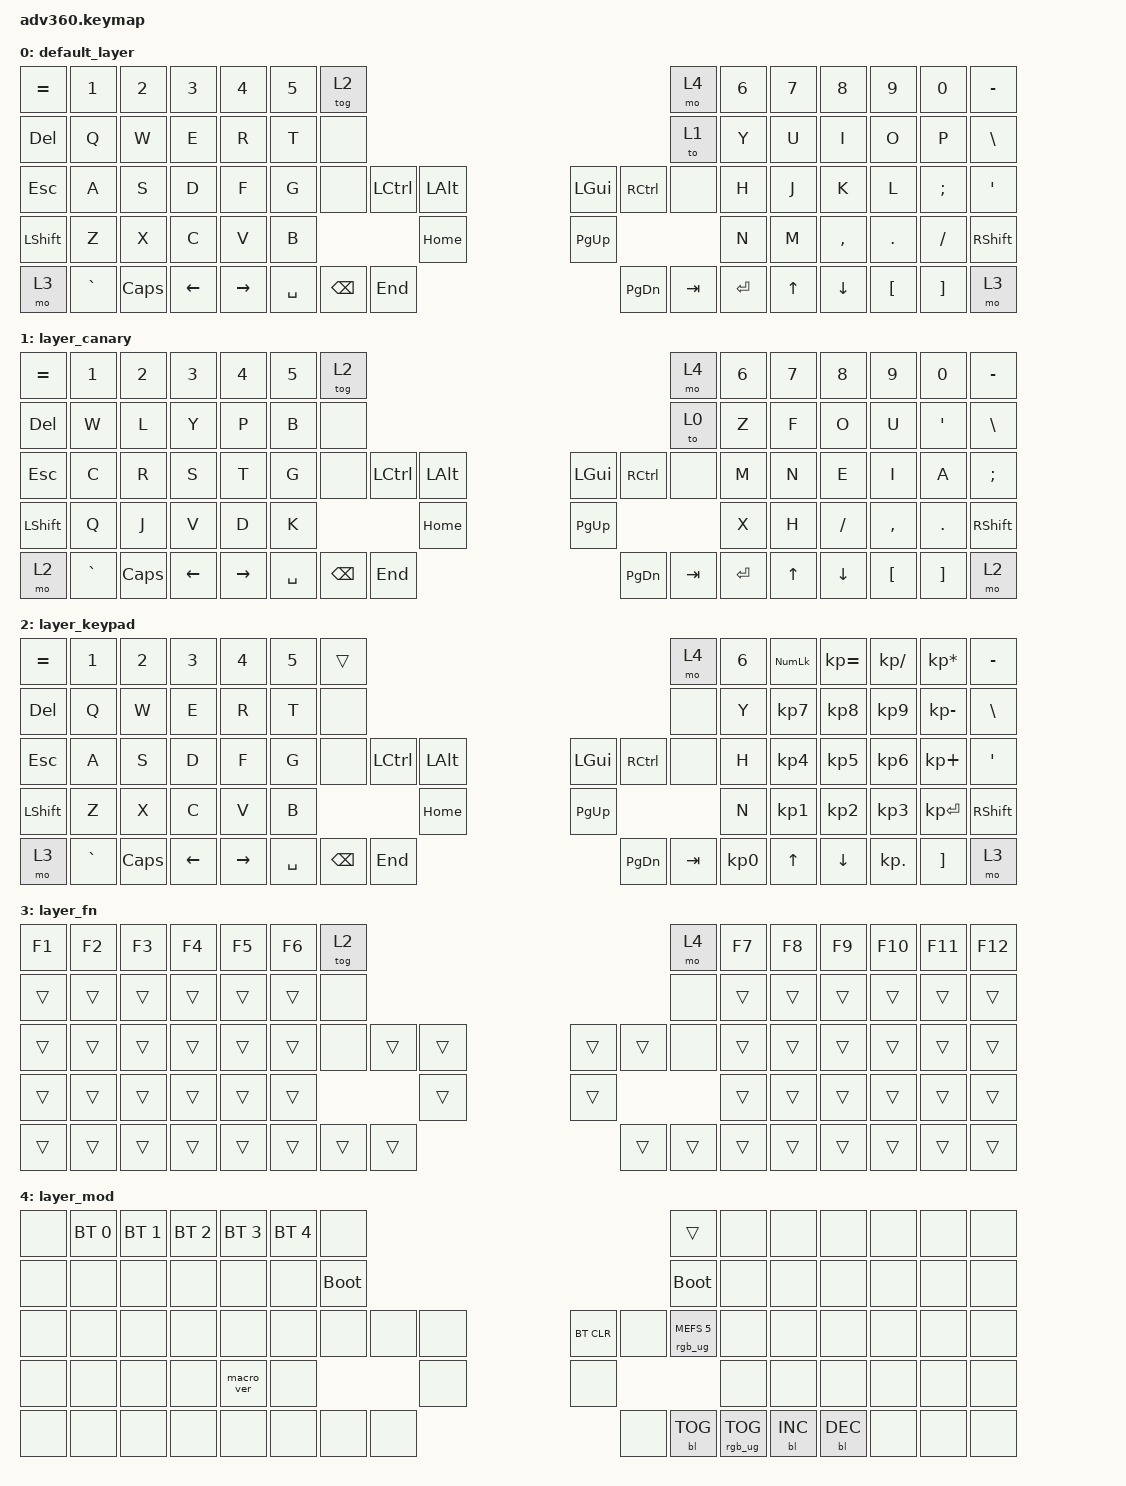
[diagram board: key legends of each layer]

/*
 * Copyright (c) 2020 The ZMK Contributors
 *
 * SPDX-License-Identifier: MIT
 */


/* THIS FILE WAS GENERATED!
 *
 * This file was generated automatically. You may or may not want to
 * edit it directly.
 */

#include <behaviors.dtsi>
#include <dt-bindings/zmk/keys.h>
#include <dt-bindings/zmk/bt.h>
#include <dt-bindings/zmk/rgb.h>
#include <dt-bindings/zmk/backlight.h>

/ {
  behaviors {
    #include "macros.dtsi"
    #include "version.dtsi"

    hm: homerow_mods {
        compatible = "zmk,behavior-hold-tap";
        label = "HOMEROW_MODS";
        #binding-cells = <2>;
        tapping-term-ms = <200>;
        quick_tap_ms = <175>;
        flavor = "tap-preferred";
        bindings = <&kp>, <&kp>;
    };
  };

    keymap {
        compatible = "zmk,keymap";


        default_layer {
            bindings = <
 &kp EQUAL     &kp N1    &kp N2    &kp N3     &kp N4  &kp N5               &tog 2                                                                     &mo 4  &kp N6  &kp N7     &kp N8    &kp N9    &kp N0  &kp MINUS
   &kp DEL      &kp Q     &kp W     &kp E      &kp R   &kp T                &none                                                                     &to 1   &kp Y   &kp U      &kp I     &kp O     &kp P   &kp BSLH
   &kp ESC      &kp A     &kp S     &kp D      &kp F   &kp G                &none      &kp LCTRL  &kp LALT                   &kp LGUI  &kp RCTRL      &none   &kp H   &kp J      &kp K     &kp L  &kp SEMI    &kp SQT
 &kp LSHFT      &kp Z     &kp X     &kp C      &kp V   &kp B                                      &kp HOME                  &kp PG_UP                         &kp N   &kp M  &kp COMMA   &kp DOT  &kp FSLH  &kp RSHFT
     &mo 3  &kp GRAVE  &kp CAPS  &kp LEFT  &kp RIGHT                    &kp SPACE  &kp BACKSPACE   &kp END                  &kp PG_DN    &kp TAB  &kp ENTER          &kp UP   &kp DOWN  &kp LBKT  &kp RBKT      &mo 3
            >;
        };

        layer_canary {
            bindings = <
 &kp EQUAL     &kp N1    &kp N2    &kp N3     &kp N4  &kp N5               &tog 2                                                                     &mo 4  &kp N6  &kp N7    &kp N8     &kp N9    &kp N0  &kp MINUS
   &kp DEL      &kp W     &kp L     &kp Y      &kp P   &kp B                &none                                                                     &to 0   &kp Z   &kp F     &kp O      &kp U   &kp SQT   &kp BSLH
   &kp ESC      &kp C     &kp R     &kp S      &kp T   &kp G                &none      &kp LCTRL  &kp LALT                   &kp LGUI  &kp RCTRL      &none   &kp M   &kp N     &kp E      &kp I     &kp A   &kp SEMI
 &kp LSHFT      &kp Q     &kp J     &kp V      &kp D   &kp K                                      &kp HOME                  &kp PG_UP                         &kp X   &kp H  &kp FSLH  &kp COMMA   &kp DOT  &kp RSHFT
     &mo 2  &kp GRAVE  &kp CAPS  &kp LEFT  &kp RIGHT                    &kp SPACE  &kp BACKSPACE   &kp END                  &kp PG_DN    &kp TAB  &kp ENTER          &kp UP  &kp DOWN   &kp LBKT  &kp RBKT      &mo 2
            >;
        };

        layer_keypad {
            bindings = <
 &kp EQUAL     &kp N1    &kp N2    &kp N3     &kp N4  &kp N5               &trans                                                                     &mo 4  &kp N6  &kp KP_NUM  &kp KP_EQUAL  &kp KP_DIVIDE  &kp KP_MULTIPLY  &kp MINUS
   &kp DEL      &kp Q     &kp W     &kp E      &kp R   &kp T                &none                                                                     &none   &kp Y   &kp KP_N7     &kp KP_N8      &kp KP_N9     &kp KP_MINUS   &kp BSLH
   &kp ESC      &kp A     &kp S     &kp D      &kp F   &kp G                &none      &kp LCTRL  &kp LALT                   &kp LGUI  &kp RCTRL      &none   &kp H   &kp KP_N4     &kp KP_N5      &kp KP_N6      &kp KP_PLUS    &kp SQT
 &kp LSHFT      &kp Z     &kp X     &kp C      &kp V   &kp B                                      &kp HOME                  &kp PG_UP                         &kp N   &kp KP_N1     &kp KP_N2      &kp KP_N3     &kp KP_ENTER  &kp RSHFT
     &mo 3  &kp GRAVE  &kp CAPS  &kp LEFT  &kp RIGHT                    &kp SPACE  &kp BACKSPACE   &kp END                  &kp PG_DN    &kp TAB  &kp KP_N0              &kp UP      &kp DOWN     &kp KP_DOT         &kp RBKT      &mo 3
            >;
        };

        layer_fn {
            bindings = <
 &kp F1  &kp F2  &kp F3  &kp F4  &kp F5  &kp F6            &tog 2                                                   &mo 4  &kp F7  &kp F8  &kp F9  &kp F10  &kp F11  &kp F12
 &trans  &trans  &trans  &trans  &trans  &trans             &none                                                   &none  &trans  &trans  &trans   &trans   &trans   &trans
 &trans  &trans  &trans  &trans  &trans  &trans             &none  &trans  &trans                  &trans  &trans   &none  &trans  &trans  &trans   &trans   &trans   &trans
 &trans  &trans  &trans  &trans  &trans  &trans                            &trans                  &trans                  &trans  &trans  &trans   &trans   &trans   &trans
 &trans  &trans  &trans  &trans  &trans                    &trans  &trans  &trans                  &trans  &trans  &trans          &trans  &trans   &trans   &trans   &trans
            >;
        };

        layer_mod {
            bindings = <
  &none  &bt BT_SEL 0  &bt BT_SEL 1  &bt BT_SEL 2  &bt BT_SEL 3  &bt BT_SEL 4                  &none                                                                          &trans   &none       &none       &none   &none   &none   &none
  &none         &none         &none         &none         &none         &none            &bootloader                                                                     &bootloader   &none       &none       &none   &none   &none   &none
  &none         &none         &none         &none         &none         &none                  &none   &none   &none                  &bt BT_CLR       &none  &rgb_ug RGB_MEFS_CMD 5   &none       &none       &none   &none   &none   &none
  &none         &none         &none         &none    &macro_ver         &none                                  &none                       &none                                       &none       &none       &none   &none   &none   &none
  &none         &none         &none         &none         &none                                &none   &none   &none                       &none  &bl BL_TOG         &rgb_ug RGB_TOG          &bl BL_INC  &bl BL_DEC   &none   &none   &none
            >;
        };

    };
};
